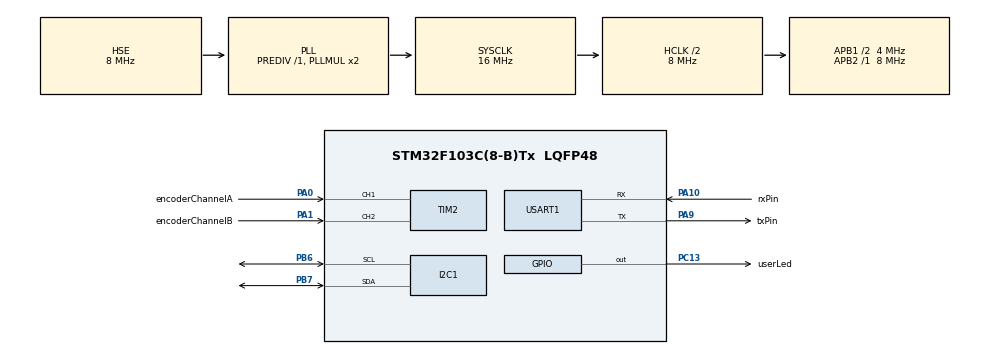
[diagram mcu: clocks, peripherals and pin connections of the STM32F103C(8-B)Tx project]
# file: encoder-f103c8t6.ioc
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Mcu.Family=STM32F1
Mcu.Name=STM32F103C(8-B)Tx
Mcu.Package=LQFP48
NVIC.PriorityGroup=NVIC_PRIORITYGROUP_4
NVIC.TIM1_BRK_IRQn=true\:0\:0\:false\:false\:true\:true\:true\:true
NVIC.TIM1_CC_IRQn=true\:0\:0\:false\:false\:true\:true\:true\:true
NVIC.TIM1_TRG_COM_IRQn=true\:0\:0\:false\:false\:true\:true\:true\:true
NVIC.TIM1_UP_IRQn=true\:0\:0\:false\:false\:true\:true\:true\:true
PA0-WKUP.GPIO_Label=encoderChannelA
PA0-WKUP.Signal=S_TIM2_CH1_ETR
PA1.GPIO_Label=encoderChannelB
PA1.Signal=S_TIM2_CH2
PA10.GPIO_Label=rxPin
PA10.Mode=Asynchronous
PA10.Signal=USART1_RX
PA9.GPIO_Label=txPin
PA9.Mode=Asynchronous
PA9.Signal=USART1_TX
PB6.Mode=I2C
PB6.Signal=I2C1_SCL
PB7.Mode=I2C
PB7.Signal=I2C1_SDA
PC13-TAMPER-RTC.GPIO_Label=userLed
PC13-TAMPER-RTC.Signal=GPIO_Output
PD0-OSC_IN.Mode=HSE-External-Oscillator
PD0-OSC_IN.Signal=RCC_OSC_IN
PD1-OSC_OUT.Mode=HSE-External-Oscillator
PD1-OSC_OUT.Signal=RCC_OSC_OUT
ProjectManager.HeapSize=0x200
ProjectManager.StackSize=0x400
ProjectManager.TargetToolchain=STM32CubeIDE
RCC.AHBCLKDivider=RCC_SYSCLK_DIV2
RCC.AHBFreq_Value=8000000
RCC.APB1CLKDivider=RCC_HCLK_DIV2
RCC.APB1Freq_Value=4000000
RCC.APB1TimFreq_Value=8000000
RCC.APB2Freq_Value=8000000
RCC.APB2TimFreq_Value=8000000
RCC.HCLKFreq_Value=8000000
RCC.PLLSourceVirtual=RCC_PLLSOURCE_HSE
RCC.SYSCLKFreq_VALUE=16000000
RCC.SYSCLKSource=RCC_SYSCLKSOURCE_PLLCLK
RCC.USBFreq_Value=16000000
SH.S_TIM2_CH1_ETR.0=TIM2_CH1,Encoder_Interface
SH.S_TIM2_CH2.0=TIM2_CH2,Encoder_Interface
TIM1.AutoReloadPreload=TIM_AUTORELOAD_PRELOAD_ENABLE
TIM1.Period=8000
TIM1.Prescaler=15
USART1.VirtualMode=VM_ASYNC
VP_TIM1_VS_ClockSourceINT.Mode=Internal
board=custom

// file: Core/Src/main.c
/* USER CODE BEGIN Header */
/**
  ******************************************************************************
  * @file           : main.c
  * @brief          : Main program body
  ******************************************************************************
  * @attention
  *
  * Copyright (c) 2022 STMicroelectronics.
  * All rights reserved.
  *
  * This software is licensed under terms that can be found in the LICENSE file
  * in the root directory of this software component.
  * If no LICENSE file comes with this software, it is provided AS-IS.
  *
  ******************************************************************************
  */
/* USER CODE END Header */
#include "main.h"
#include "i2c.h"
#include "tim.h"
#include "usart.h"
#include "gpio.h"

/* USER CODE BEGIN Includes */
#include <stdio.h>
#include "motorControl.h"
/* USER CODE END Includes */

/* USER CODE BEGIN PD */
//todo: make a test with an actual motor
#define kp 1.0f
#define ki 1.0f

#define limMin -10.0f
#define limMax 10.0f
#define limMinInt -5.0f
#define limMaxInt 5.0f

#define sampleTime 0.015f
/* USER CODE END PD */

/* USER CODE BEGIN PV */
Encoder_Struct encoder = {&htim2};
PIController controller = {
		&encoder,
		kp,ki,
		limMin, limMax,
		limMinInt,limMaxInt,
		sampleTime
};
/*Those variables will be used to communicate with the motor driver*/

//static const uint8_t drv_Addr = 0xB0; //address to write in md22 driver
//static uint8_t speedRegisterFirstMotor = 0x01; // address for the first motor
//static const uint8_t speedRegisterSecondMotor = 0x02; //address for the second motor

HAL_StatusTypeDef check;
uint8_t writeValue = 0x00;
/* USER CODE END PV */

void SystemClock_Config(void);
/* USER CODE BEGIN PFP */
int _write(int fd, char* ptr, int len) {
    HAL_UART_Transmit(&huart1, (uint8_t *) ptr, len, HAL_MAX_DELAY);
    return len;
}

void HAL_TIM_PeriodElapsedCallback(TIM_HandleTypeDef* htim){
	/*
	 * ALGORITMO
	 * ENCODER OBTEM VELOCIDADE MEDIDA
	 * PID REALIZA CÁLCULOS E OBTÉM VELOCIDADE QUE DEVE SER DESENOLVIDA
	 * SAIDA DO PID CONTROLA PWM DO TIMER (SERÁ NECESSÁRIO?)
	 * SAIDA CONTROLA QUAL VALOR MANDAR PARA MD22 VIA I2C
	 * I2C: 0 - FULL REVERSE; 128 - STOP; 255 - FULL FORWARD;
	 *
	 */

	//this function updates the pi controller with the current encoder reading
    PIController_Update(&controller, 20.0f);

    printf("ENCODER SPEED: %.2f\r\n", encoder.w_speed);
    printf("ERRO: %.2f INTEGRADOR: %.2f SAIDA: %.2f \r\n", controller.prevError, controller.integrator, controller.out);

//    /*REALIZAR CONVERSÃO VELOCIDADE -> BYTE*/
    writeValue = convertsPiOutputToDriverInput(&controller);
    //access driver "speed register" to change its value
    check = HAL_I2C_Master_Transmit(&hi2c1, drv_Addr, &speedRegisterFirstMotor, 1, HAL_MAX_DELAY);

    if(check != HAL_OK){
    	printf("HOLY SHIT\n\r");
    }
    else{
    	//with the register acessed, write the new value (byte from converted speed)
    	HAL_I2C_Master_Transmit(&hi2c1, drv_Addr, &writeValue, 1, HAL_MAX_DELAY);
    	printf("NICE");
    }

}
/* USER CODE END PFP */

int main(void)
{

  /* MCU Configuration--------------------------------------------------------*/

  /* Reset of all peripherals, Initializes the Flash interface and the Systick. */
  HAL_Init();

  /* Configure the system clock */
  SystemClock_Config();

  /* Initialize all configured peripherals */
  MX_GPIO_Init();
  MX_USART1_UART_Init();
  MX_TIM2_Init();
  MX_TIM1_Init();
  MX_I2C1_Init();
  /* USER CODE BEGIN 2 */
  HAL_TIM_Encoder_Start(&htim2, TIM_CHANNEL_ALL);//start encoder timer
  HAL_TIM_Base_Start_IT(&htim1);//start interrupt timer
  HAL_I2C_Init(&hi2c1);//to be used by i2c

  PIController_Init(&controller);
  /* USER CODE END 2 */

  /* Infinite loop */
  while (1)
  {

  }
}

void SystemClock_Config(void)
{
  RCC_OscInitTypeDef RCC_OscInitStruct = {0};
  RCC_ClkInitTypeDef RCC_ClkInitStruct = {0};

  /** Initializes the RCC Oscillators according to the specified parameters
  * in the RCC_OscInitTypeDef structure.
  */
  RCC_OscInitStruct.OscillatorType = RCC_OSCILLATORTYPE_HSE;
  RCC_OscInitStruct.HSEState = RCC_HSE_ON;
  RCC_OscInitStruct.HSEPredivValue = RCC_HSE_PREDIV_DIV1;
  RCC_OscInitStruct.HSIState = RCC_HSI_ON;
  RCC_OscInitStruct.PLL.PLLState = RCC_PLL_ON;
  RCC_OscInitStruct.PLL.PLLSource = RCC_PLLSOURCE_HSE;
  RCC_OscInitStruct.PLL.PLLMUL = RCC_PLL_MUL2;
  if (HAL_RCC_OscConfig(&RCC_OscInitStruct) != HAL_OK)
  {
    Error_Handler();
  }

  /** Initializes the CPU, AHB and APB buses clocks
  */
  RCC_ClkInitStruct.ClockType = RCC_CLOCKTYPE_HCLK|RCC_CLOCKTYPE_SYSCLK
                              |RCC_CLOCKTYPE_PCLK1|RCC_CLOCKTYPE_PCLK2;
  RCC_ClkInitStruct.SYSCLKSource = RCC_SYSCLKSOURCE_PLLCLK;
  RCC_ClkInitStruct.AHBCLKDivider = RCC_SYSCLK_DIV2;
  RCC_ClkInitStruct.APB1CLKDivider = RCC_HCLK_DIV2;
  RCC_ClkInitStruct.APB2CLKDivider = RCC_HCLK_DIV1;

  if (HAL_RCC_ClockConfig(&RCC_ClkInitStruct, FLASH_LATENCY_0) != HAL_OK)
  {
    Error_Handler();
  }
}

void Error_Handler(void)
{
  __disable_irq();
  while (1)
  {
  }
}
